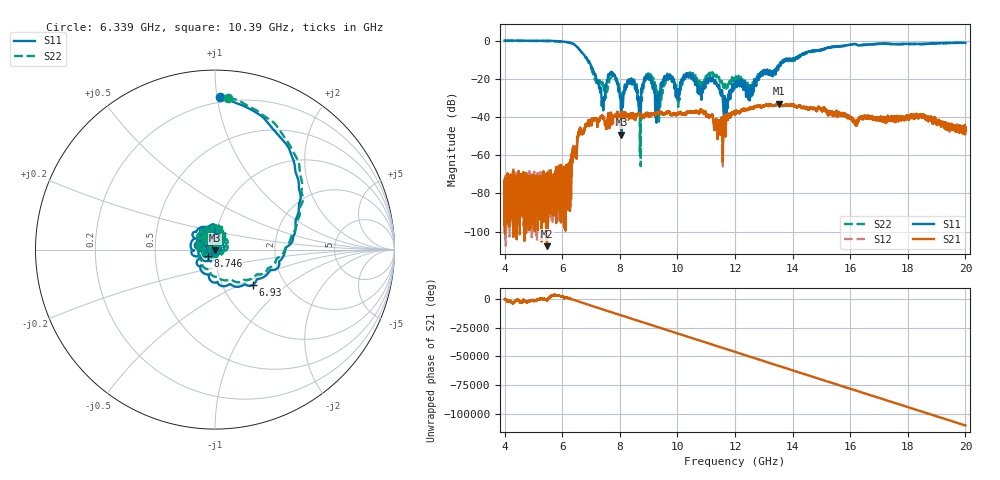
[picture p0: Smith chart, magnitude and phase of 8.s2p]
[Version] 2.0
! Rohde & Schwarz Vector Network Analyzer
! Rohde-Schwarz,ZNL20-2Port,1323001220200009,1.71.1.10-23.02.1.238
! Port Assignments:
! Nominal Port -> Actual Test Port
!  1 -> 1
!  2 -> 2
! Created: GMT+2 2025-01-17 12:09:09
# Hz S RI R 50
[Number of Ports] 2
[Two-Port Data Order] 21_12
! freq[Hz]  S11[Re]  S11[Im]  S21[Re]  S21[Im]  S12[Re]  S12[Im]  S22[Re]  S22[Im]
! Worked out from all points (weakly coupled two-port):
!   16001 points, 4 GHz to 20 GHz, reference 50 ohm
!   highest |S21| = -33.01 dB at 13.51 GHz (marker M1); lowest = -107.6 dB at 5.471 GHz (marker M2)
!   lowest |S11| = -49.2 dB at 8.056 GHz (marker M3), VSWR 1.01, Z = 49.8 - j0.285 ohm
!   |S11| at or under -10 dB: 6.887 GHz to 13.7 GHz (6.814 GHz wide, 66.2 % of centre); 13.71206 GHz to 13.74176 GHz (29.7 MHz wide, 0.216 % of centre); 13.94216 GHz to 13.96577 GHz (23.6 MHz wide, 0.169 % of centre) (the widest 3 of 9)
!   |S22| runs from -65.7 to 0.0 dB; largest |S21 - S12| = 0.0022
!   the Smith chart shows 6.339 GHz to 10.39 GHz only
!   S11 on the Smith chart (normalised r, x): 6.339 GHz: 0.16, +1.02; 6.93 GHz: 1.39, -0.59; 8.746 GHz: 0.92, -0.07; 10.39 GHz: 1.00, +0.22
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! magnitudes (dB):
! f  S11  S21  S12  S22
! 4 GHz  0.0  -75.2  -77.8  -0.2
! 5.471 GHz  -0.2  -107.6  -75.7  -0.3
! 6.339 GHz  -1.4  -59.1  -59.9  -1.4
! 6.667 GHz  -5.9  -47.5  -47.4  -6.0
! 6.93 GHz  -10.8  -44.0  -43.6  -11.8
! 7.402 GHz  -30.5  -39.4  -39.5  -22.4
! 7.721 GHz  -16.8  -41.8  -41.7  -18.8
! 8.056 GHz  -49.2  -37.5  -37.4  -31.1
! 8.425 GHz  -22.7  -39.8  -39.9  -21.6
! 8.746 GHz  -25.3  -39.3  -39.1  -29.2
! 9 GHz  -20.2  -38.3  -38.3  -18.7
! 9.334 GHz  -27.9  -37.9  -37.8  -30.8
! 9.585 GHz  -20.5  -38.1  -38.0  -21.6
! 10.05 GHz  -25.8  -38.3  -38.2  -28.2
! 10.39 GHz  -19.4  -37.6  -37.8  -18.5
! 11.29 GHz  -22.5  -46.4  -46.3  -18.2
! 11.67 GHz  -32.1  -49.7  -49.2  -22.8
! 12 GHz  -21.3  -38.5  -38.5  -19.1
! 13.51 GHz  -13.8  -33.0  -33.2  -13.9
! 14.67 GHz  -5.4  -35.5  -35.2  -5.9
! 17.33 GHz  -1.7  -41.4  -40.9  -1.8
! 20 GHz  -1.2  -46.9  -46.6  -1.2
